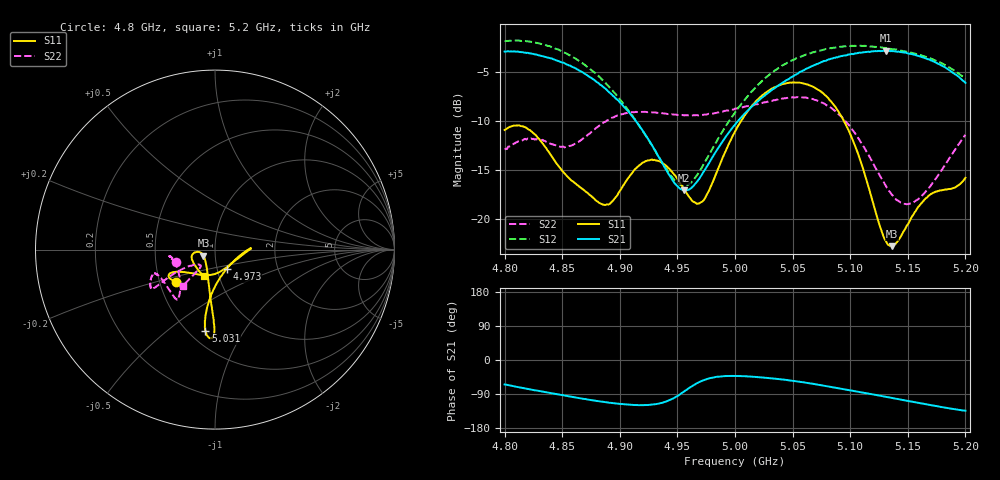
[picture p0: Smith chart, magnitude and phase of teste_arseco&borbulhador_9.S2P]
! Network Analyzer HP8722D
! Hewlett-Packard
! Data name: Linha & Wilkinson
! Saver's name: Rodrigo Anjos
! Comments: Teste da utilização de aquisição
! continua pelo VNA HP8722D
! Time and date: 15/4/2025 15:42
!  Frequency  S11  S21  S12  S22
# HZ  S  MA R 50
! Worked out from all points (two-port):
!   401 points, 4.8 GHz to 5.2 GHz, reference 50 ohm
!   highest |S21| = -2.88 dB at 5.131 GHz (marker M1); lowest = -17.1 dB at 4.956 GHz (marker M2)
!   |S21| within 3 dB of the highest: start of sweep to 4.878 GHz; 5.045 GHz to 5.197 GHz (152.8 MHz wide, 2.98 % of centre)
!   lowest |S11| = -22.8 dB at 5.136 GHz (marker M3), VSWR 1.16, Z = 43.9 - j2.95 ohm
!   |S11| at or under -10 dB: start of sweep to 5.005 GHz; 5.094 GHz to end of sweep
!   |S22| runs from -18.5 to -7.6 dB; largest |S21 - S12| = 1.5
!   S11 on the Smith chart (normalised r, x): 4.8 GHz: 0.60, -0.24; 4.973 GHz: 1.11, -0.24; 5.031 GHz: 0.60, -0.69; 5.2 GHz: 0.84, -0.26
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4.8e9  0.2835 -140.9  0.7111 -64.4  0.8047 126.6  0.226 -161.7
4.823e9  0.2797 -152.2  0.6945 -77.9  0.7968 116.3  0.2567 -171.9
4.851e9  0.173 -128.3  0.6248 -93.3  0.7066 105.2  0.2336 -158.4
4.867e9  0.1427 -99.0  0.5601 -101.8  0.6248 99.3  0.2534 -140.5
4.89e9  0.1182 -45.2  0.4452 -112.4  0.4752 91.5  0.3191 -128.2
4.917e9  0.1874 -1.0  0.2976 -119.2  0.297 89.2  0.3503 -128.1
4.934e9  0.1968 1.5  0.2057 -115.0  0.2069 96.7  0.3457 -132.4
4.956e9  0.1407 -14.4  0.1395 -82.7  0.1475 130.9  0.3367 -142.8
4.965e9  0.1213 -35.1  0.1499 -64.7  0.1609 149.5  0.3368 -147.4
4.973e9  0.1249 -59.0  0.1745 -53.2  0.1905 161.6  0.3391 -151.3
5e9  0.2782 -96.2  0.3021 -42.1  0.3484 175.6  0.3641 -158.3
5.031e9  0.4563 -96.7  0.4484 -48.2  0.5488 172.3  0.3981 -154.0
5.067e9  0.4726 -90.7  0.601 -62.4  0.7033 159.9  0.4082 -147.9
5.083e9  0.3987 -91.0  0.6529 -71.1  0.7408 153.3  0.3693 -148.1
5.098e9  0.2872 -94.7  0.686 -78.9  0.7575 146.0  0.3044 -149.2
5.131e9  0.077 -137.9  0.7178 -97.2  0.7407 129.4  0.1469 -144.3
5.134e9  0.07322 -146.7  0.7177 -98.8  0.7345 127.9  0.1381 -142.5
5.136e9  0.07257 -152.6  0.7155 -100.0  0.731 126.9  0.133 -141.4
5.147e9  0.08735 -170.7  0.7025 -106.3  0.7133 122.1  0.1191 -134.2
5.159e9  0.115 -171.8  0.6768 -113.0  0.6872 116.9  0.1259 -129.7
5.18e9  0.14 -154.5  0.6016 -124.4  0.6172 109.2  0.1792 -130.4
5.2e9  0.1618 -113.3  0.4928 -133.7  0.5166 103.9  0.2677 -131.6
